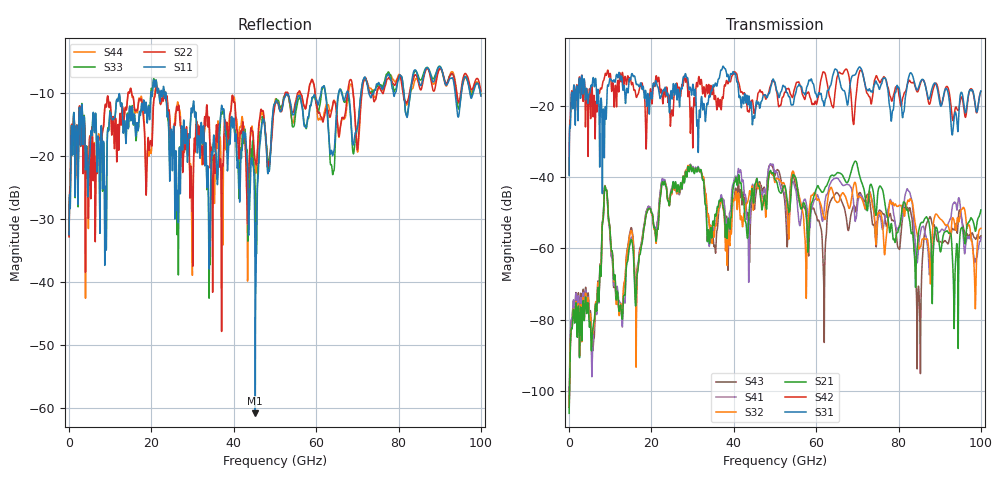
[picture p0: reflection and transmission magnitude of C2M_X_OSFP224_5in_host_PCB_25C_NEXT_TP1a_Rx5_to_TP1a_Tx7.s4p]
# GHz S RI R 45
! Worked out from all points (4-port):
!   4000 points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, 25 MHz to 100 GHz, reference 45 ohm
!   strongest paths, dB at 25 MHz, 25.02 GHz, 50.02 GHz, 75.03 GHz, 100 GHz:
!     S31: -39.5, -18.1, -13.5, -14.1, -15.8
!     S42: -39.3, -21.2, -13.8, -12.5, -15.9
!     S21: -106.3, -44.0, -40.8, -44.0, -49.2
!     S32: -104.6, -44.3, -41.4, -50.1, -54.3
!     S41: -98.9, -43.2, -38.6, -51.6, -57.0
!     S43: -104.6, -43.6, -39.3, -51.0, -56.5
!   lowest |S11| = -60.8 dB at 45.23 GHz (marker M1), VSWR 1.00, Z = 45 - j0.08 ohm
!   |S11| at or under -10 dB: start of sweep to 19.9 GHz; 23.54 GHz to 61.15 GHz (37.61 GHz wide, 88.8 % of centre); 62.22 GHz to 65.43 GHz (3.211 GHz wide, 5.03 % of centre) (the widest 3 of 15)
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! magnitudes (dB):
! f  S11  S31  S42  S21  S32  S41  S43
! 25 MHz  -32.5  -39.5  -39.3  -106.3  -104.6  -98.9  -104.6
! 6.3 GHz  -14.4  -13.2  -25.7  -77.7  -78.0  -78.4  -79.3
! 8.9 GHz  -25.1  -20.9  -10.8  -43.5  -43.5  -43.4  -43.4
! 12.57 GHz  -12.1  -12.3  -12.4  -76.1  -75.5  -75.6  -76.2
! 22.88 GHz  -9.1  -15.5  -18.4  -42.1  -41.9  -41.2  -40.9
! 45.23 GHz  -60.8  -21.6  -20.9  -41.7  -43.1  -43.3  -46.0
! 100 GHz  -10.4  -15.8  -15.9  -49.2  -54.3  -57.0  -56.5
